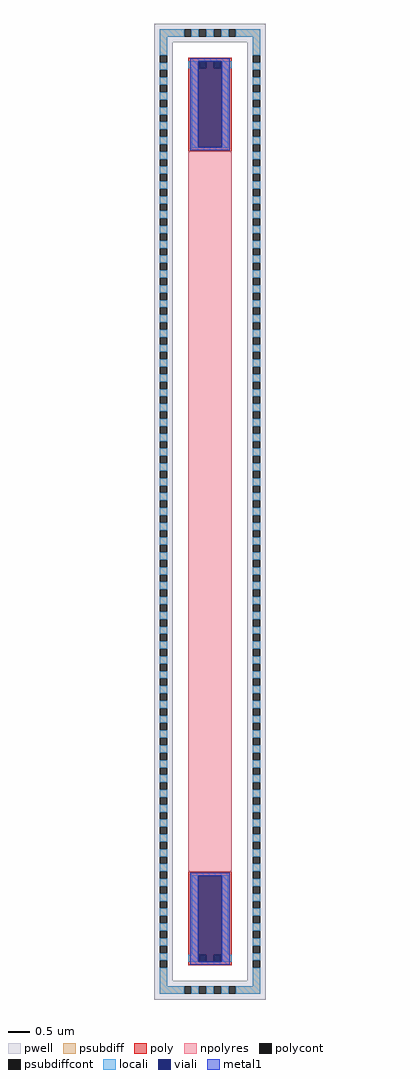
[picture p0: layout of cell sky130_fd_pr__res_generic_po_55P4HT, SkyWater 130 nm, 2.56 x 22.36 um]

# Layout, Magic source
magic
tech sky130B
magscale 1 2
<< pwell >>
rect -256 2150 256 2236
rect -256 -2150 -170 2150
rect 170 -2150 256 2150
rect -256 -2236 256 -2150
<< psubdiff >>
rect -230 2176 -119 2210
rect -85 2176 -51 2210
rect -17 2176 17 2210
rect 51 2176 85 2210
rect 119 2176 230 2210
rect -230 2091 -196 2176
rect 196 2091 230 2176
rect -230 2023 -196 2057
rect -230 1955 -196 1989
rect -230 1887 -196 1921
rect -230 1819 -196 1853
rect -230 1751 -196 1785
rect -230 1683 -196 1717
rect -230 1615 -196 1649
rect -230 1547 -196 1581
rect -230 1479 -196 1513
rect -230 1411 -196 1445
rect -230 1343 -196 1377
rect -230 1275 -196 1309
rect -230 1207 -196 1241
rect -230 1139 -196 1173
rect -230 1071 -196 1105
rect -230 1003 -196 1037
rect -230 935 -196 969
rect -230 867 -196 901
rect -230 799 -196 833
rect -230 731 -196 765
rect -230 663 -196 697
rect -230 595 -196 629
rect -230 527 -196 561
rect -230 459 -196 493
rect -230 391 -196 425
rect -230 323 -196 357
rect -230 255 -196 289
rect -230 187 -196 221
rect -230 119 -196 153
rect -230 51 -196 85
rect -230 -17 -196 17
rect -230 -85 -196 -51
rect -230 -153 -196 -119
rect -230 -221 -196 -187
rect -230 -289 -196 -255
rect -230 -357 -196 -323
rect -230 -425 -196 -391
rect -230 -493 -196 -459
rect -230 -561 -196 -527
rect -230 -629 -196 -595
rect -230 -697 -196 -663
rect -230 -765 -196 -731
rect -230 -833 -196 -799
rect -230 -901 -196 -867
rect -230 -969 -196 -935
rect -230 -1037 -196 -1003
rect -230 -1105 -196 -1071
rect -230 -1173 -196 -1139
rect -230 -1241 -196 -1207
rect -230 -1309 -196 -1275
rect -230 -1377 -196 -1343
rect -230 -1445 -196 -1411
rect -230 -1513 -196 -1479
rect -230 -1581 -196 -1547
rect -230 -1649 -196 -1615
rect -230 -1717 -196 -1683
rect -230 -1785 -196 -1751
rect -230 -1853 -196 -1819
rect -230 -1921 -196 -1887
rect -230 -1989 -196 -1955
rect -230 -2057 -196 -2023
rect 196 2023 230 2057
rect 196 1955 230 1989
rect 196 1887 230 1921
rect 196 1819 230 1853
rect 196 1751 230 1785
rect 196 1683 230 1717
rect 196 1615 230 1649
rect 196 1547 230 1581
rect 196 1479 230 1513
rect 196 1411 230 1445
rect 196 1343 230 1377
rect 196 1275 230 1309
rect 196 1207 230 1241
rect 196 1139 230 1173
rect 196 1071 230 1105
rect 196 1003 230 1037
rect 196 935 230 969
rect 196 867 230 901
rect 196 799 230 833
rect 196 731 230 765
rect 196 663 230 697
rect 196 595 230 629
rect 196 527 230 561
rect 196 459 230 493
rect 196 391 230 425
rect 196 323 230 357
rect 196 255 230 289
rect 196 187 230 221
rect 196 119 230 153
rect 196 51 230 85
rect 196 -17 230 17
rect 196 -85 230 -51
rect 196 -153 230 -119
rect 196 -221 230 -187
rect 196 -289 230 -255
rect 196 -357 230 -323
rect 196 -425 230 -391
rect 196 -493 230 -459
rect 196 -561 230 -527
rect 196 -629 230 -595
rect 196 -697 230 -663
rect 196 -765 230 -731
rect 196 -833 230 -799
rect 196 -901 230 -867
rect 196 -969 230 -935
rect 196 -1037 230 -1003
rect 196 -1105 230 -1071
rect 196 -1173 230 -1139
rect 196 -1241 230 -1207
rect 196 -1309 230 -1275
rect 196 -1377 230 -1343
rect 196 -1445 230 -1411
rect 196 -1513 230 -1479
rect 196 -1581 230 -1547
rect 196 -1649 230 -1615
rect 196 -1717 230 -1683
rect 196 -1785 230 -1751
rect 196 -1853 230 -1819
rect 196 -1921 230 -1887
rect 196 -1989 230 -1955
rect 196 -2057 230 -2023
rect -230 -2176 -196 -2091
rect 196 -2176 230 -2091
rect -230 -2210 -119 -2176
rect -85 -2210 -51 -2176
rect -17 -2210 17 -2176
rect 51 -2210 85 -2176
rect 119 -2210 230 -2176
<< psubdiffcont >>
rect -119 2176 -85 2210
rect -51 2176 -17 2210
rect 17 2176 51 2210
rect 85 2176 119 2210
rect -230 2057 -196 2091
rect -230 1989 -196 2023
rect -230 1921 -196 1955
rect -230 1853 -196 1887
rect -230 1785 -196 1819
rect -230 1717 -196 1751
rect -230 1649 -196 1683
rect -230 1581 -196 1615
rect -230 1513 -196 1547
rect -230 1445 -196 1479
rect -230 1377 -196 1411
rect -230 1309 -196 1343
rect -230 1241 -196 1275
rect -230 1173 -196 1207
rect -230 1105 -196 1139
rect -230 1037 -196 1071
rect -230 969 -196 1003
rect -230 901 -196 935
rect -230 833 -196 867
rect -230 765 -196 799
rect -230 697 -196 731
rect -230 629 -196 663
rect -230 561 -196 595
rect -230 493 -196 527
rect -230 425 -196 459
rect -230 357 -196 391
rect -230 289 -196 323
rect -230 221 -196 255
rect -230 153 -196 187
rect -230 85 -196 119
rect -230 17 -196 51
rect -230 -51 -196 -17
rect -230 -119 -196 -85
rect -230 -187 -196 -153
rect -230 -255 -196 -221
rect -230 -323 -196 -289
rect -230 -391 -196 -357
rect -230 -459 -196 -425
rect -230 -527 -196 -493
rect -230 -595 -196 -561
rect -230 -663 -196 -629
rect -230 -731 -196 -697
rect -230 -799 -196 -765
rect -230 -867 -196 -833
rect -230 -935 -196 -901
rect -230 -1003 -196 -969
rect -230 -1071 -196 -1037
rect -230 -1139 -196 -1105
rect -230 -1207 -196 -1173
rect -230 -1275 -196 -1241
rect -230 -1343 -196 -1309
rect -230 -1411 -196 -1377
rect -230 -1479 -196 -1445
rect -230 -1547 -196 -1513
rect -230 -1615 -196 -1581
rect -230 -1683 -196 -1649
rect -230 -1751 -196 -1717
rect -230 -1819 -196 -1785
rect -230 -1887 -196 -1853
rect -230 -1955 -196 -1921
rect -230 -2023 -196 -1989
rect -230 -2091 -196 -2057
rect 196 2057 230 2091
rect 196 1989 230 2023
rect 196 1921 230 1955
rect 196 1853 230 1887
rect 196 1785 230 1819
rect 196 1717 230 1751
rect 196 1649 230 1683
rect 196 1581 230 1615
rect 196 1513 230 1547
rect 196 1445 230 1479
rect 196 1377 230 1411
rect 196 1309 230 1343
rect 196 1241 230 1275
rect 196 1173 230 1207
rect 196 1105 230 1139
rect 196 1037 230 1071
rect 196 969 230 1003
rect 196 901 230 935
rect 196 833 230 867
rect 196 765 230 799
rect 196 697 230 731
rect 196 629 230 663
rect 196 561 230 595
rect 196 493 230 527
rect 196 425 230 459
rect 196 357 230 391
rect 196 289 230 323
rect 196 221 230 255
rect 196 153 230 187
rect 196 85 230 119
rect 196 17 230 51
rect 196 -51 230 -17
rect 196 -119 230 -85
rect 196 -187 230 -153
rect 196 -255 230 -221
rect 196 -323 230 -289
rect 196 -391 230 -357
rect 196 -459 230 -425
rect 196 -527 230 -493
rect 196 -595 230 -561
rect 196 -663 230 -629
rect 196 -731 230 -697
rect 196 -799 230 -765
rect 196 -867 230 -833
rect 196 -935 230 -901
rect 196 -1003 230 -969
rect 196 -1071 230 -1037
rect 196 -1139 230 -1105
rect 196 -1207 230 -1173
rect 196 -1275 230 -1241
rect 196 -1343 230 -1309
rect 196 -1411 230 -1377
rect 196 -1479 230 -1445
rect 196 -1547 230 -1513
rect 196 -1615 230 -1581
rect 196 -1683 230 -1649
rect 196 -1751 230 -1717
rect 196 -1819 230 -1785
rect 196 -1887 230 -1853
rect 196 -1955 230 -1921
rect 196 -2023 230 -1989
rect 196 -2091 230 -2057
rect -119 -2210 -85 -2176
rect -51 -2210 -17 -2176
rect 17 -2210 51 -2176
rect 85 -2210 119 -2176
<< poly >>
rect -100 2064 100 2080
rect -100 2030 -51 2064
rect -17 2030 17 2064
rect 51 2030 100 2064
rect -100 1650 100 2030
rect -100 -2030 100 -1650
rect -100 -2064 -51 -2030
rect -17 -2064 17 -2030
rect 51 -2064 100 -2030
rect -100 -2080 100 -2064
<< polycont >>
rect -51 2030 -17 2064
rect 17 2030 51 2064
rect -51 -2064 -17 -2030
rect 17 -2064 51 -2030
<< npolyres >>
rect -100 -1650 100 1650
<< locali >>
rect -230 2176 -119 2210
rect -85 2176 -51 2210
rect -17 2176 17 2210
rect 51 2176 85 2210
rect 119 2176 230 2210
rect -230 2091 -196 2176
rect 196 2091 230 2176
rect -230 2023 -196 2057
rect -100 2062 -51 2064
rect -17 2062 17 2064
rect 51 2062 100 2064
rect -100 2030 -53 2062
rect 53 2030 100 2062
rect -230 1955 -196 1989
rect -230 1887 -196 1921
rect -230 1819 -196 1853
rect -230 1751 -196 1785
rect -230 1683 -196 1717
rect -84 1668 -53 2030
rect 53 1668 84 2030
rect -84 1667 84 1668
rect 196 2023 230 2057
rect 196 1955 230 1989
rect 196 1887 230 1921
rect 196 1819 230 1853
rect 196 1751 230 1785
rect 196 1683 230 1717
rect -230 1615 -196 1649
rect -230 1547 -196 1581
rect -230 1479 -196 1513
rect -230 1411 -196 1445
rect -230 1343 -196 1377
rect -230 1275 -196 1309
rect -230 1207 -196 1241
rect -230 1139 -196 1173
rect -230 1071 -196 1105
rect -230 1003 -196 1037
rect -230 935 -196 969
rect -230 867 -196 901
rect -230 799 -196 833
rect -230 731 -196 765
rect -230 663 -196 697
rect -230 595 -196 629
rect -230 527 -196 561
rect -230 459 -196 493
rect -230 391 -196 425
rect -230 323 -196 357
rect -230 255 -196 289
rect -230 187 -196 221
rect -230 119 -196 153
rect -230 51 -196 85
rect -230 -17 -196 17
rect -230 -85 -196 -51
rect -230 -153 -196 -119
rect -230 -221 -196 -187
rect -230 -289 -196 -255
rect -230 -357 -196 -323
rect -230 -425 -196 -391
rect -230 -493 -196 -459
rect -230 -561 -196 -527
rect -230 -629 -196 -595
rect -230 -697 -196 -663
rect -230 -765 -196 -731
rect -230 -833 -196 -799
rect -230 -901 -196 -867
rect -230 -969 -196 -935
rect -230 -1037 -196 -1003
rect -230 -1105 -196 -1071
rect -230 -1173 -196 -1139
rect -230 -1241 -196 -1207
rect -230 -1309 -196 -1275
rect -230 -1377 -196 -1343
rect -230 -1445 -196 -1411
rect -230 -1513 -196 -1479
rect -230 -1581 -196 -1547
rect -230 -1649 -196 -1615
rect 196 1615 230 1649
rect 196 1547 230 1581
rect 196 1479 230 1513
rect 196 1411 230 1445
rect 196 1343 230 1377
rect 196 1275 230 1309
rect 196 1207 230 1241
rect 196 1139 230 1173
rect 196 1071 230 1105
rect 196 1003 230 1037
rect 196 935 230 969
rect 196 867 230 901
rect 196 799 230 833
rect 196 731 230 765
rect 196 663 230 697
rect 196 595 230 629
rect 196 527 230 561
rect 196 459 230 493
rect 196 391 230 425
rect 196 323 230 357
rect 196 255 230 289
rect 196 187 230 221
rect 196 119 230 153
rect 196 51 230 85
rect 196 -17 230 17
rect 196 -85 230 -51
rect 196 -153 230 -119
rect 196 -221 230 -187
rect 196 -289 230 -255
rect 196 -357 230 -323
rect 196 -425 230 -391
rect 196 -493 230 -459
rect 196 -561 230 -527
rect 196 -629 230 -595
rect 196 -697 230 -663
rect 196 -765 230 -731
rect 196 -833 230 -799
rect 196 -901 230 -867
rect 196 -969 230 -935
rect 196 -1037 230 -1003
rect 196 -1105 230 -1071
rect 196 -1173 230 -1139
rect 196 -1241 230 -1207
rect 196 -1309 230 -1275
rect 196 -1377 230 -1343
rect 196 -1445 230 -1411
rect 196 -1513 230 -1479
rect 196 -1581 230 -1547
rect 196 -1649 230 -1615
rect -230 -1717 -196 -1683
rect -230 -1785 -196 -1751
rect -230 -1853 -196 -1819
rect -230 -1921 -196 -1887
rect -230 -1989 -196 -1955
rect -230 -2057 -196 -2023
rect -84 -1669 84 -1667
rect -84 -2030 -53 -1669
rect 53 -2030 84 -1669
rect 196 -1717 230 -1683
rect 196 -1785 230 -1751
rect 196 -1853 230 -1819
rect 196 -1921 230 -1887
rect 196 -1989 230 -1955
rect -100 -2063 -53 -2030
rect 53 -2063 100 -2030
rect -100 -2064 -51 -2063
rect -17 -2064 17 -2063
rect 51 -2064 100 -2063
rect 196 -2057 230 -2023
rect -230 -2176 -196 -2091
rect 196 -2176 230 -2091
rect -230 -2210 -119 -2176
rect -85 -2210 -51 -2176
rect -17 -2210 17 -2176
rect 51 -2210 85 -2176
rect 119 -2210 230 -2176
<< viali >>
rect -53 2030 -51 2062
rect -51 2030 -17 2062
rect -17 2030 17 2062
rect 17 2030 51 2062
rect 51 2030 53 2062
rect -53 1668 53 2030
rect -53 -2030 53 -1669
rect -53 -2063 -51 -2030
rect -51 -2063 -17 -2030
rect -17 -2063 17 -2030
rect 17 -2063 51 -2030
rect 51 -2063 53 -2030
<< metal1 >>
rect -90 2062 90 2076
rect -90 1668 -53 2062
rect 53 1668 90 2062
rect -90 1655 90 1668
rect -90 -1669 90 -1655
rect -90 -2063 -53 -1669
rect 53 -2063 90 -1669
rect -90 -2076 90 -2063
<< properties >>
string FIXED_BBOX -213 -2193 213 2193
<< end >>
